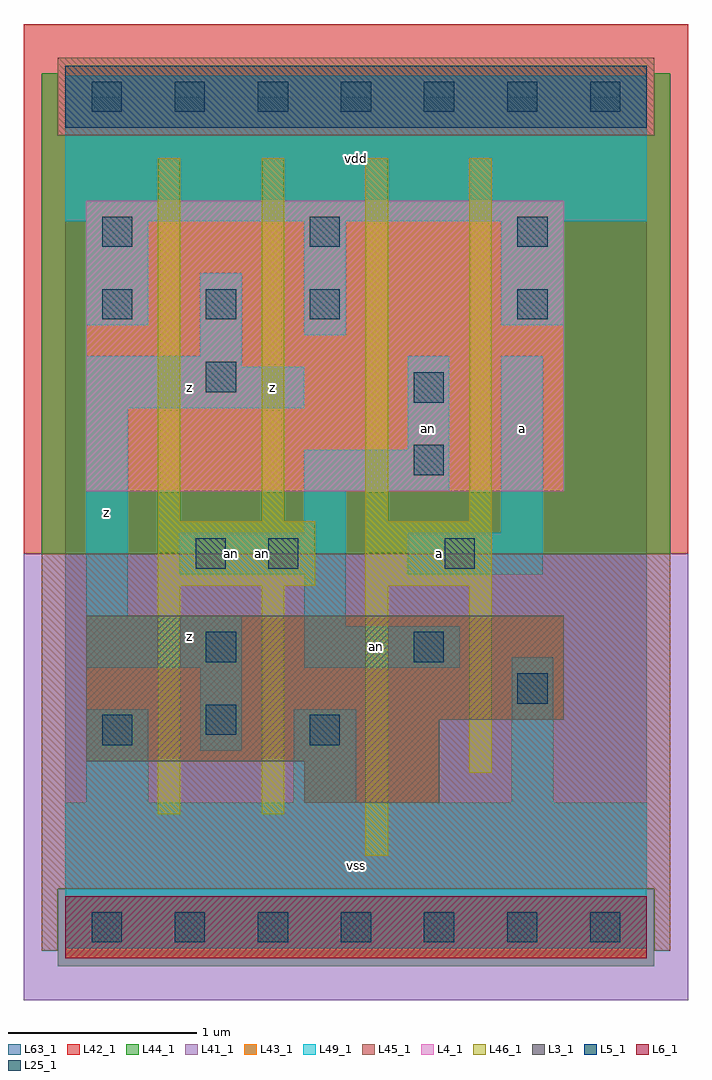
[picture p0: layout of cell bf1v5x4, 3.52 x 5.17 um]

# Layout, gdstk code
import gdstk
lib = gdstk.Library(unit=1e-6, precision=1e-09)
def R(c, l, rs):  # rectangles x0, y0, x1, y1
    for r in rs: c.add(gdstk.rectangle(r[:2], r[2:], *l))
def A(c, l, x, y, w, h, nx, ny, dx, dy):  # array of equal rectangles
    R(c, l, [(x+i*dx, y+j*dy, x+i*dx+w, y+j*dy+h) for i in range(nx) for j in range(ny)])
L3_1 = (3, 1)
L4_1 = (4, 1)
L5_1 = (5, 1)
L6_1 = (6, 1)
L25_1 = (25, 1)
L41_1 = (41, 1)
L42_1 = (42, 1)
L43_1 = (43, 1)
L44_1 = (44, 1)
L45_1 = (45, 1)
L46_1 = (46, 1)
L49_1 = (49, 1)
L63_1 = (63, 1)

bf1v5x4 = lib.new_cell('bf1v5x4')
R(bf1v5x4, L3_1, [(1.265,0.66,1.98,0.88), (0.11,0.88,1.98,1.1), (0.11,1.1,2.64,1.65)])
R(bf1v5x4, L4_1, [(0.11,2.31,2.64,3.85)])
R(bf1v5x4, L5_1, [(0,4.235,3.08,4.565)])
R(bf1v5x4, L6_1, [(0,-0.165,3.08,0.165)])
A(bf1v5x4, L25_1, 0.14, -0.08, 0.16, 0.16, 7, 2, 0.44, 4.4)
A(bf1v5x4, L25_1, 0.195, 3.22, 0.16, 0.16, 3, 1, 0.55, 0)
A(bf1v5x4, L25_1, 0.195, 3.605, 0.16, 0.16, 3, 1, 1.1, 0)
R(bf1v5x4, L25_1, [(0.195,0.965,0.355,1.125), (1.295,0.965,1.455,1.125), (0.745,1.02,0.905,1.18), (2.395,1.185,2.555,1.345), (0.745,1.405,0.905,1.565), (1.845,1.405,2.005,1.565), (0.69,1.9,0.85,2.06), (1.075,1.9,1.235,2.06), (2.01,1.9,2.17,2.06), (1.845,2.395,2.005,2.555), (1.845,2.78,2.005,2.94), (0.745,2.835,0.905,2.995), (2.395,3.22,2.555,3.38)])
R(bf1v5x4, L41_1, [(-0.22,-0.385,3.3,1.98)])
R(bf1v5x4, L42_1, [(-0.22,1.98,3.3,4.785)])
R(bf1v5x4, L43_1, [(0,-0.165,3.08,0.165), (1.265,0.66,1.98,0.88), (0.11,0.88,1.98,1.1), (0.11,1.1,2.64,1.65), (0.11,2.31,2.64,3.85), (0,4.235,3.08,4.565)])
R(bf1v5x4, L44_1, [(-0.04,-0.205,3.12,0.205), (-0.125,1.98,3.205,4.195), (-0.125,4.195,-0.04,4.525), (3.12,4.195,3.205,4.525)])
R(bf1v5x4, L45_1, [(-0.125,-0.125,-0.04,0.205), (3.12,-0.125,3.205,0.205), (-0.125,0.205,3.205,1.98), (-0.04,4.195,3.12,4.605)])
A(bf1v5x4, L46_1, 0.49, 2.15, 0.12, 1.925, 4, 1, 0.55, 0)
R(bf1v5x4, L46_1, [(1.59,0.38,1.71,1.81), (0.49,0.6,0.61,1.81), (1.04,0.6,1.16,1.81), (2.14,0.82,2.26,1.81), (0.49,1.81,1.325,2.15), (1.59,1.81,2.26,2.15)])
R(bf1v5x4, L49_1, [(0,-0.11,3.08,0.66), (0.11,0.66,0.44,1.155), (1.21,0.66,1.54,1.155), (2.365,0.66,2.585,1.43), (0.715,0.935,0.935,1.375), (0.11,1.375,0.935,1.65), (1.265,1.375,2.09,1.595), (1.265,1.595,1.485,1.87), (0.11,1.65,0.33,2.75), (0.605,1.87,1.485,2.09), (1.815,1.87,2.53,2.09), (1.265,2.09,1.485,2.31), (2.31,2.09,2.53,3.025), (1.265,2.31,2.035,2.53), (1.815,2.53,2.035,3.025), (0.11,2.75,1.265,2.97), (0.11,2.97,0.935,3.025), (0.715,3.025,0.935,3.465), (1.265,3.135,1.485,3.74), (0.11,3.19,0.44,3.74), (2.31,3.19,2.64,3.74), (0,3.74,3.08,4.51)])
R(bf1v5x4, L63_1, [(0,0,3.08,4.4)])
bf1v5x4.add(gdstk.Label('an', (0.88,1.98), layer=46, texttype=1))
bf1v5x4.add(gdstk.Label('z', (0.22,2.2), layer=49, texttype=1))
bf1v5x4.add(gdstk.Label('z', (0.66,1.54), layer=49, texttype=1))
bf1v5x4.add(gdstk.Label('an', (1.045,1.98), layer=49, texttype=1))
bf1v5x4.add(gdstk.Label('z', (0.66,2.86), layer=49, texttype=1))
bf1v5x4.add(gdstk.Label('z', (1.1,2.86), layer=49, texttype=1))
bf1v5x4.add(gdstk.Label('vss', (1.54,0.33), layer=49, texttype=1))
bf1v5x4.add(gdstk.Label('an', (1.65,1.485), layer=49, texttype=1))
bf1v5x4.add(gdstk.Label('a', (1.98,1.98), layer=49, texttype=1))
bf1v5x4.add(gdstk.Label('an', (1.925,2.64), layer=49, texttype=1))
bf1v5x4.add(gdstk.Label('vdd', (1.54,4.07), layer=49, texttype=1))
bf1v5x4.add(gdstk.Label('a', (2.42,2.64), layer=49, texttype=1))

lib.write_gds('bf1v5x4.gds')
